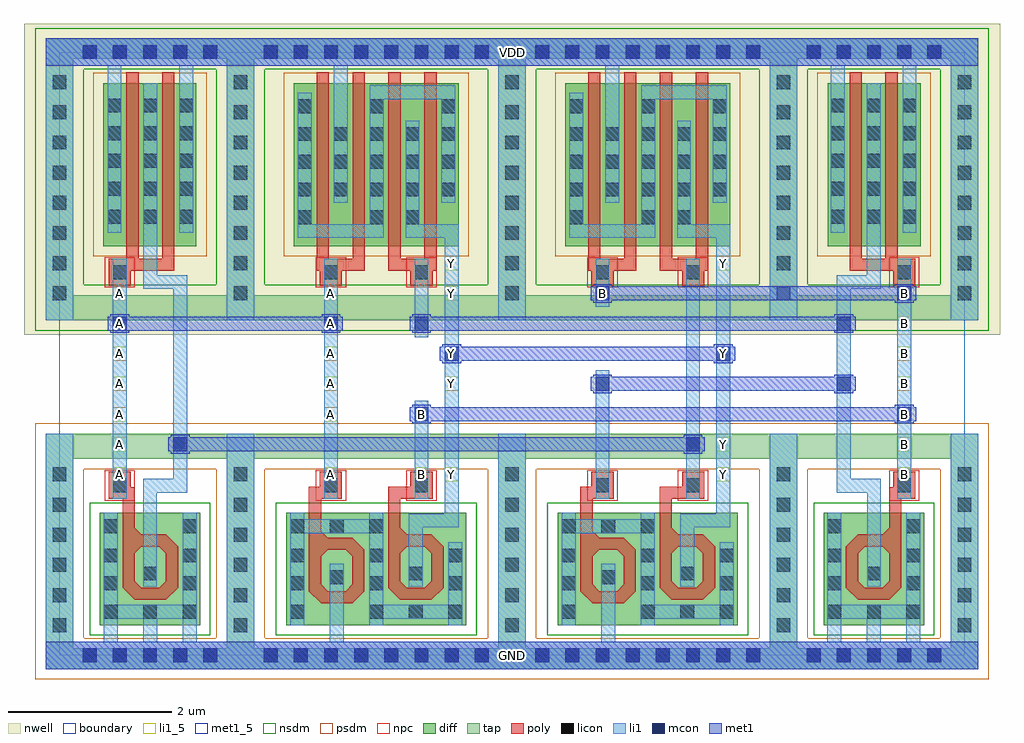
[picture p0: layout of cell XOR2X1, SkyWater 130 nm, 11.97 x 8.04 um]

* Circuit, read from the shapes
.subckt XOR2X1 A B GND VDD Y
XM1 GND A n1 GND sky130_fd_pr__nfet_01v8 w=2.56 l=0.1465
XM2 n2 A GND GND sky130_fd_pr__nfet_01v8 w=2.6 l=0.1477
XM3 n2 B Y GND sky130_fd_pr__nfet_01v8 w=2.56 l=0.1474
XM4 n3 n4 GND GND sky130_fd_pr__nfet_01v8 w=2.6 l=0.1487
XM5 n3 n1 Y GND sky130_fd_pr__nfet_01v8 w=2.56 l=0.1471
XM6 GND B n4 GND sky130_fd_pr__nfet_01v8 w=2.56 l=0.1462
XM7 n1 A VDD VDD sky130_fd_pr__pfet_01v8 w=2 l=0.15 m=2
XM8 VDD A n5 VDD sky130_fd_pr__pfet_01v8 w=2 l=0.15 m=2
XM9 Y n4 n5 VDD sky130_fd_pr__pfet_01v8 w=2 l=0.15 m=2
XM10 VDD B n6 VDD sky130_fd_pr__pfet_01v8 w=2 l=0.15 m=2
XM11 Y n1 n6 VDD sky130_fd_pr__pfet_01v8 w=2 l=0.15 m=2
XM12 n4 B VDD VDD sky130_fd_pr__pfet_01v8 w=2 l=0.15 m=2
.ends

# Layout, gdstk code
from math import pi, radians
import gdstk
lib = gdstk.Library(unit=1e-6, precision=1e-09)
def R(c, l, rs):  # rectangles x0, y0, x1, y1
    for r in rs: c.add(gdstk.rectangle(r[:2], r[2:], *l))
def A(c, l, x, y, w, h, nx, ny, dx, dy):  # array of equal rectangles
    R(c, l, [(x+i*dx, y+j*dy, x+i*dx+w, y+j*dy+h) for i in range(nx) for j in range(ny)])
def P(c, l, *ps):  # polygons
    for p in ps: c.add(gdstk.Polygon(p, *l))
nwell = (64, 20)
diff = (65, 20)
tap = (65, 44)
poly = (66, 20)
licon = (66, 44)
li1_5 = (67, 5)
li1 = (67, 20)
mcon = (67, 44)
met1_5 = (68, 5)
met1 = (68, 20)
nsdm = (93, 44)
psdm = (94, 20)
npc = (95, 20)
boundary = (235, 4)

diff_ring_side = lib.new_cell('diff_ring_side')
R(diff_ring_side, nwell, [(-0.435,3.93,0.435,7.75)])
R(diff_ring_side, tap, [(-0.17,-0.17,0.17,2.72), (-0.17,4.11,0.17,7.57)])
A(diff_ring_side, licon, -0.085, 0.285, 0.17, 0.17, 1, 6, 0, 0.37)
A(diff_ring_side, licon, -0.085, 4.355, 0.17, 0.17, 1, 8, 0, 0.37)
R(diff_ring_side, li1, [(-0.17,-0.17,0.17,2.72), (-0.17,4.11,0.17,7.57)])
R(diff_ring_side, met1, [(-0.17,-0.17,0.17,0.17), (-0.17,7.23,0.17,7.57)])
R(diff_ring_side, nsdm, [(-0.295,3.985,0.295,7.695)])
R(diff_ring_side, psdm, [(-0.295,-0.295,0.295,2.845)])

poly_li1_contact = lib.new_cell('poly_li1_contact')
R(poly_li1_contact, poly, [(-0.16,-0.14,0.17,0.13)])
R(poly_li1_contact, licon, [(-0.08,-0.09,0.09,0.08)])
R(poly_li1_contact, li1, [(-0.16,-0.09,0.17,0.08)])
R(poly_li1_contact, npc, [(-0.18,-0.19,0.19,0.18)])

pmos2 = lib.new_cell('pmos2')
R(pmos2, nwell, [(0.26,-2.18,1.76,0.18)])
R(pmos2, diff, [(0.44,-2,1.58,0)])
R(pmos2, poly, [(0.72,-2.305,1.31,-2.155), (0.72,-2.155,0.87,0.13), (1.16,-2.155,1.31,0.13)])
A(pmos2, licon, 0.49, -1.38, 0.17, 0.17, 3, 4, 0.44, 0.34)
R(pmos2, li1, [(0.49,-1.465,0.66,0.21), (0.93,-1.465,1.1,0), (1.37,-1.465,1.54,0.21)])
R(pmos2, psdm, [(0.315,-2.125,1.705,0.125)])

nmos_top = lib.new_cell('nmos_top')
R(nmos_top, diff, [(0,0,1.23,1.38)])
R(nmos_top, poly, [(0.42,0.31,0.8,0.46), (0.27,0.46,0.42,0.965), (0.8,0.46,0.95,0.965), (0.42,0.965,0.95,1.115), (0.8,1.115,0.95,1.54)])
P(nmos_top, poly, [(0.72,1.115),(0.8,1.115),(0.8,1.195)],
  [(0.27,0.965),(0.42,0.965),(0.42,1.115)],
  [(0.42,0.885),(0.42,0.965),(0.5,0.965)],
  [(0.72,0.965),(0.8,0.965),(0.8,0.885)],
  [(0.42,0.54),(0.42,0.46),(0.5,0.46)],
  [(0.72,0.46),(0.8,0.46),(0.8,0.54)],
  [(0.27,0.46),(0.42,0.46),(0.42,0.31)],
  [(0.8,0.31),(0.8,0.46),(0.95,0.46)])
R(nmos_top, licon, [(0.04,0.08,0.21,0.25), (0.53,0.08,0.7,0.25), (1.01,0.08,1.18,0.25), (0.04,0.43,0.21,0.6), (1.01,0.43,1.18,0.6), (0.53,0.55,0.7,0.72), (0.04,0.77,0.21,0.94), (1.01,0.77,1.18,0.94), (0.04,1.13,0.21,1.3), (1.01,1.13,1.18,1.3)])
R(nmos_top, li1, [(0.04,0,0.21,0.08), (1.01,0,1.18,0.08), (0.04,0.08,1.18,0.25), (0.04,0.25,0.21,1.38), (1.01,0.25,1.18,1.38), (0.53,0.47,0.7,0.805)])
R(nmos_top, nsdm, [(-0.125,-0.125,1.355,1.505)])

invx1_pcell = lib.new_cell('invx1_pcell')
R(invx1_pcell, nwell, [(-0.435,3.93,2.655,7.75)])
A(invx1_pcell, diff, 0.59, 5.295, 0.17, 0.17, 3, 1, 0.44, 0)
R(invx1_pcell, tap, [(0.17,-0.17,2.05,0.085), (0.17,2.41,2.05,2.72), (0.17,4.11,2.05,4.42), (0.17,7.315,2.05,7.57)])
R(invx1_pcell, poly, [(0.775,1.905,0.925,2.065)])
A(invx1_pcell, licon, 0.285, -0.085, 0.17, 0.17, 5, 2, 0.37, 7.4)
A(invx1_pcell, licon, 0.59, 5.295, 0.17, 0.17, 3, 1, 0.44, 0)
R(invx1_pcell, li1, [(0.17,-0.17,2.05,0.17), (0.545,0.17,0.715,0.45), (1.03,0.17,1.2,0.455), (1.515,0.17,1.685,0.45), (1.025,1.165,1.195,1.995), (1.025,1.995,1.565,2.165), (1.395,2.165,1.565,4.495), (0.655,2.245,0.825,4.54), (1.03,4.495,1.565,4.665), (1.03,4.665,1.2,5.555), (0.59,5.185,0.76,5.555), (1.47,5.185,1.64,5.555), (0.17,7.23,2.05,7.57)])
A(invx1_pcell, mcon, 0.285, -0.085, 0.17, 0.17, 5, 2, 0.37, 7.4)
R(invx1_pcell, met1, [(0.17,-0.17,2.05,0.17), (0.17,7.23,2.05,7.57)])
R(invx1_pcell, nsdm, [(0.045,3.985,2.175,4.545), (0.045,7.19,2.175,7.695)])
R(invx1_pcell, psdm, [(0.045,-0.295,2.175,0.21), (0.045,2.285,2.175,2.845), (0.465,5.17,1.765,5.59)])
invx1_pcell.add(gdstk.Reference(poly_li1_contact, (0.735,2.08), rotation=pi/2))
invx1_pcell.add(gdstk.Reference(poly_li1_contact, (0.745,4.705), rotation=3*pi/2))
invx1_pcell.add(gdstk.Reference(pmos2, (0.1,7.02)))
invx1_pcell.add(gdstk.Reference(nmos_top, (1.725,0.37), rotation=pi, x_reflection=True))
invx1_pcell.add(gdstk.Reference(diff_ring_side, (0,0)))
invx1_pcell.add(gdstk.Reference(diff_ring_side, (2.22,0)))

li1_m1_contact = lib.new_cell('li1_M1_contact')
R(li1_m1_contact, li1, [(-0.085,-0.165,0.085,0.165)])
R(li1_m1_contact, mcon, [(-0.085,-0.085,0.085,0.085)])
R(li1_m1_contact, met1, [(-0.115,-0.115,0.115,-0.085), (-0.265,-0.085,0.145,0.085), (-0.115,0.085,0.115,0.115)])

pmos2_1 = lib.new_cell('pmos2_1')
R(pmos2_1, nwell, [(0.26,-2.175,1.76,0.185)])
R(pmos2_1, diff, [(0.44,-1.995,1.58,0.005)])
R(pmos2_1, poly, [(0.72,-2.3,1.31,-2.15), (0.72,-2.15,0.87,0.135), (1.16,-2.15,1.31,0.135)])
A(pmos2_1, licon, 0.49, -1.385, 0.17, 0.17, 3, 3, 0.44, 0.34)
A(pmos2_1, li1, 0.49, -1.465, 0.17, 1.01, 3, 1, 0.44, 0)
R(pmos2_1, psdm, [(0.315,-2.12,1.705,0.13)])

nmos_top_trim1 = lib.new_cell('nmos_top_trim1')
R(nmos_top_trim1, diff, [(0,0,1.24,1.38)])
R(nmos_top_trim1, poly, [(0.43,0.31,0.81,0.46), (0.28,0.46,0.43,0.965), (0.81,0.46,0.96,0.965), (0.43,0.965,0.96,1.115), (0.81,1.115,0.96,1.545)])
P(nmos_top_trim1, poly, [(0.73,1.115),(0.81,1.115),(0.81,1.195)],
  [(0.28,0.965),(0.43,0.965),(0.43,1.115)],
  [(0.43,0.885),(0.43,0.965),(0.51,0.965)],
  [(0.73,0.965),(0.81,0.965),(0.81,0.885)],
  [(0.43,0.54),(0.43,0.46),(0.51,0.46)],
  [(0.73,0.46),(0.81,0.46),(0.81,0.54)],
  [(0.28,0.46),(0.43,0.46),(0.43,0.31)],
  [(0.81,0.31),(0.81,0.46),(0.96,0.46)])
A(nmos_top_trim1, licon, 0.05, 0.08, 0.17, 0.17, 3, 1, 0.485, 0)
R(nmos_top_trim1, licon, [(0.05,0.43,0.22,0.6), (1.02,0.43,1.19,0.6), (0.535,0.55,0.705,0.72), (0.05,0.77,0.22,0.94), (1.02,0.77,1.19,0.94), (1.02,1.13,1.19,1.3)])
R(nmos_top_trim1, li1, [(0.05,0,0.22,0.08), (1.02,0,1.19,0.08), (0.05,0.08,1.19,0.25), (0.05,0.25,0.22,1.02), (1.02,0.25,1.19,1.38), (0.535,0.47,0.705,0.805)])
R(nmos_top_trim1, nsdm, [(-0.125,-0.125,1.365,1.505)])

nmos_bottom = lib.new_cell('nmos_bottom')
R(nmos_bottom, diff, [(0,0,1.24,1.38)])
R(nmos_bottom, poly, [(0.43,0.27,0.81,0.42), (0.28,0.42,0.43,0.925), (0.81,0.42,0.96,0.925), (0.43,0.925,0.96,1.075), (0.81,1.075,0.96,1.51)])
P(nmos_bottom, poly, [(0.73,1.075),(0.81,1.075),(0.81,1.155)],
  [(0.28,0.925),(0.43,0.925),(0.43,1.075)],
  [(0.43,0.845),(0.43,0.925),(0.51,0.925)],
  [(0.73,0.925),(0.81,0.925),(0.81,0.845)],
  [(0.43,0.5),(0.43,0.42),(0.51,0.42)],
  [(0.73,0.42),(0.81,0.42),(0.81,0.5)],
  [(0.28,0.42),(0.43,0.42),(0.43,0.27)],
  [(0.81,0.27),(0.81,0.42),(0.96,0.42)])
A(nmos_bottom, licon, 0.05, 1.13, 0.17, 0.17, 3, 1, 0.485, 0)
R(nmos_bottom, licon, [(0.05,0.08,0.22,0.25), (1.02,0.08,1.19,0.25), (0.05,0.43,0.22,0.6), (1.02,0.43,1.19,0.6), (0.535,0.505,0.705,0.675), (0.05,0.77,0.22,0.94), (1.02,0.77,1.19,0.94)])
R(nmos_bottom, li1, [(0.05,0,0.22,1.13), (1.02,0,1.19,1.13), (0.535,0.425,0.705,0.755), (0.05,1.13,1.19,1.3), (0.05,1.3,0.22,1.38), (1.02,1.3,1.19,1.38)])
R(nmos_bottom, nsdm, [(-0.125,-0.125,1.365,1.505)])

xor2x1_pcell = lib.new_cell('xor2X1_pcell')
R(xor2x1_pcell, nwell, [(2.655,3.93,8.445,4.125), (2.64,4.125,5.13,4.84), (5.97,4.125,8.46,4.84), (2.64,4.84,2.695,7.195), (5.075,4.84,5.13,7.195), (5.97,4.84,6.025,7.2), (8.405,4.84,8.46,7.2), (2.925,6.65,3.095,6.82), (2.64,7.195,5.13,7.23), (5.97,7.2,8.46,7.23), (2.39,7.23,5.38,7.245), (5.72,7.23,8.71,7.245), (2.39,7.245,5.395,7.315), (5.705,7.245,8.71,7.315), (2.39,7.315,8.71,7.57), (2.64,7.57,5.13,7.66), (5.97,7.57,8.46,7.66), (2.655,7.66,8.445,7.75)])
A(xor2x1_pcell, diff, 2.925, 6.65, 0.17, 0.17, 3, 1, 0.88, 0)
A(xor2x1_pcell, diff, 6.255, 6.65, 0.17, 0.17, 3, 1, 0.88, 0)
R(xor2x1_pcell, diff, [(2.925,5.29,3.095,5.46), (3.805,5.29,3.975,5.46), (4.245,5.29,4.415,5.46), (6.255,5.29,6.425,5.46), (7.135,5.29,7.305,5.46), (7.575,5.29,7.745,5.46)])
R(xor2x1_pcell, tap, [(2.39,-0.17,5.38,-0.085), (5.72,-0.17,8.71,-0.085), (2.39,-0.085,5.395,0.085), (5.705,-0.085,8.71,0.085), (2.39,2.41,5.395,2.72), (5.705,2.41,8.71,2.72), (2.39,4.11,5.395,4.42), (5.705,4.11,8.71,4.42), (2.39,7.315,8.71,7.57)])
R(xor2x1_pcell, poly, [(3.06,1.88,3.21,1.92), (6.39,1.88,6.54,1.92), (4.03,1.915,4.18,1.92), (7.36,1.915,7.51,1.92), (3.06,1.92,3.195,2.07), (4.03,1.92,4.305,2.07), (6.39,1.92,6.525,2.07), (7.36,1.92,7.635,2.07)])
A(xor2x1_pcell, licon, 2.505, -0.085, 0.17, 0.17, 8, 2, 0.37, 7.4)
A(xor2x1_pcell, licon, 5.835, -0.085, 0.17, 0.17, 8, 2, 0.37, 7.4)
A(xor2x1_pcell, licon, 2.925, 6.65, 0.17, 0.17, 3, 1, 0.88, 0)
A(xor2x1_pcell, licon, 6.255, 6.65, 0.17, 0.17, 3, 1, 0.88, 0)
R(xor2x1_pcell, licon, [(2.925,5.29,3.095,5.46), (3.805,5.29,3.975,5.46), (4.245,5.29,4.415,5.46), (6.255,5.29,6.425,5.46), (7.135,5.29,7.305,5.46), (7.575,5.29,7.745,5.46)])
R(xor2x1_pcell, li1, [(2.39,-0.17,5.38,-0.14), (5.72,-0.17,8.71,-0.14), (2.39,-0.14,5.395,0.17), (5.705,-0.14,8.71,0.17), (3.315,0.17,3.485,0.875), (6.645,0.17,6.815,0.875), (4.285,1.085,4.455,1.57), (7.615,1.085,7.785,1.57), (4.285,1.57,4.895,1.74), (7.615,1.57,8.225,1.74), (4.725,1.74,4.895,5.12), (8.055,1.74,8.225,5.12), (6.575,2.225,6.745,3.17), (3.245,2.24,3.415,4.535), (7.685,2.245,7.855,4.535), (4.355,2.25,4.525,3.085), (4.355,4.125,4.525,4.535), (6.575,4.31,6.745,4.535), (2.925,5.12,3.975,5.29), (4.245,5.12,4.895,5.29), (6.255,5.12,7.305,5.29), (7.575,5.12,8.225,5.29), (2.925,5.29,3.095,5.55), (3.805,5.29,3.975,5.55), (4.245,5.29,4.415,5.55), (6.255,5.29,6.425,5.55), (7.135,5.29,7.305,5.55), (7.575,5.29,7.745,5.55), (2.925,6.56,3.095,6.9), (3.365,6.56,3.535,7.23), (3.805,6.56,3.975,6.82), (4.685,6.56,4.855,6.82), (6.255,6.56,6.425,6.9), (6.695,6.56,6.865,7.23), (7.135,6.56,7.305,6.82), (8.015,6.56,8.185,6.82), (3.805,6.82,4.855,6.99), (7.135,6.82,8.185,6.99), (2.39,7.23,5.38,7.245), (5.72,7.23,8.71,7.245), (2.39,7.245,5.395,7.315), (5.705,7.245,8.71,7.315), (2.39,7.315,8.71,7.57)])
A(xor2x1_pcell, mcon, 2.505, -0.085, 0.17, 0.17, 8, 2, 0.37, 7.4)
A(xor2x1_pcell, mcon, 5.835, -0.085, 0.17, 0.17, 8, 2, 0.37, 7.4)
R(xor2x1_pcell, met1, [(2.39,-0.17,5.38,-0.14), (5.72,-0.17,8.71,-0.14), (2.39,-0.14,5.395,0.17), (5.705,-0.14,8.71,0.17), (1.575,2.505,7.56,2.675), (4.525,2.875,10.23,3.045), (6.86,3.245,9.735,3.415), (4.905,3.615,7.93,3.785), (0.935,3.985,3.115,4.155), (4.695,3.985,9.735,4.155), (6.89,4.355,10.25,4.525), (2.39,7.23,5.38,7.245), (5.72,7.23,8.71,7.245), (2.39,7.245,5.395,7.315), (5.705,7.245,8.71,7.315), (2.39,7.315,8.71,7.57)])
R(xor2x1_pcell, nsdm, [(2.265,3.985,8.835,4.545), (2.265,7.19,8.835,7.695)])
A(xor2x1_pcell, psdm, 2.8, 6.525, 0.42, 0.42, 3, 1, 0.88, 0)
A(xor2x1_pcell, psdm, 6.13, 6.525, 0.42, 0.42, 3, 1, 0.88, 0)
R(xor2x1_pcell, psdm, [(2.265,-0.295,8.835,0.21), (2.265,2.285,8.835,2.845), (2.8,5.165,3.22,5.585), (3.68,5.165,4.54,5.585), (6.13,5.165,6.55,5.585), (7.01,5.165,7.87,5.585)])
xor2x1_pcell.add(gdstk.Reference(diff_ring_side, (2.22,0)))
xor2x1_pcell.add(gdstk.Reference(invx1_pcell, (0,0)))
xor2x1_pcell.add(gdstk.Reference(li1_m1_contact, (0.74,4.07), rotation=pi))
xor2x1_pcell.add(gdstk.Reference(li1_m1_contact, (1.48,2.59), rotation=pi))
xor2x1_pcell.add(gdstk.Reference(poly_li1_contact, (3.335,2.09), rotation=3*pi/2))
xor2x1_pcell.add(gdstk.Reference(poly_li1_contact, (3.335,4.705), rotation=3*pi/2))
xor2x1_pcell.add(gdstk.Reference(pmos2_1, (3.315,7.015)))
xor2x1_pcell.add(gdstk.Reference(pmos2_1, (2.435,7.015)))
xor2x1_pcell.add(gdstk.Reference(nmos_top_trim1, (4.99,0.37), rotation=pi, x_reflection=True))
xor2x1_pcell.add(gdstk.Reference(nmos_bottom, (4.02,0.37), rotation=pi, x_reflection=True))
xor2x1_pcell.add(gdstk.Reference(li1_m1_contact, (3.33,4.07)))
xor2x1_pcell.add(gdstk.Reference(poly_li1_contact, (4.445,4.705), rotation=3*pi/2))
xor2x1_pcell.add(gdstk.Reference(poly_li1_contact, (4.445,2.09), rotation=3*pi/2))
xor2x1_pcell.add(gdstk.Reference(li1_m1_contact, (4.44,2.96), rotation=pi))
xor2x1_pcell.add(gdstk.Reference(li1_m1_contact, (4.81,3.7), rotation=pi))
xor2x1_pcell.add(gdstk.Reference(li1_m1_contact, (4.44,4.07), rotation=pi))
xor2x1_pcell.add(gdstk.Reference(diff_ring_side, (5.55,0)))
xor2x1_pcell.add(gdstk.Reference(poly_li1_contact, (6.665,4.705), rotation=3*pi/2))
xor2x1_pcell.add(gdstk.Reference(poly_li1_contact, (6.665,2.09), rotation=3*pi/2))
xor2x1_pcell.add(gdstk.Reference(pmos2_1, (6.645,7.015)))
xor2x1_pcell.add(gdstk.Reference(pmos2_1, (5.765,7.015)))
xor2x1_pcell.add(gdstk.Reference(nmos_top_trim1, (8.32,0.37), rotation=pi, x_reflection=True))
xor2x1_pcell.add(gdstk.Reference(nmos_bottom, (7.35,0.37), rotation=pi, x_reflection=True))
xor2x1_pcell.add(gdstk.Reference(li1_m1_contact, (6.66,3.33), rotation=pi))
xor2x1_pcell.add(gdstk.Reference(li1_m1_contact, (6.66,4.44), rotation=pi))
xor2x1_pcell.add(gdstk.Reference(poly_li1_contact, (7.775,4.705), rotation=3*pi/2))
xor2x1_pcell.add(gdstk.Reference(poly_li1_contact, (7.775,2.09), rotation=3*pi/2))
xor2x1_pcell.add(gdstk.Reference(li1_m1_contact, (8.14,3.7)))
xor2x1_pcell.add(gdstk.Reference(li1_m1_contact, (7.77,2.59)))
xor2x1_pcell.add(gdstk.Reference(diff_ring_side, (8.88,0)))
xor2x1_pcell.add(gdstk.Reference(invx1_pcell, (11.1,0), rotation=pi, x_reflection=True))
xor2x1_pcell.add(gdstk.Reference(li1_m1_contact, (10.36,2.96)))
xor2x1_pcell.add(gdstk.Reference(li1_m1_contact, (9.62,4.07)))
xor2x1_pcell.add(gdstk.Reference(li1_m1_contact, (10.36,4.44)))
xor2x1_pcell.add(gdstk.Reference(li1_m1_contact, (9.62,3.33)))

xor2x1 = lib.new_cell('XOR2X1')
R(xor2x1, nwell, [(0.285,7.315,0.455,7.485)])
A(xor2x1, li1_5, 0.655, 2.135, 0.17, 0.17, 1, 7, 0, 0.37)
A(xor2x1, li1_5, 10.275, 2.135, 0.17, 0.17, 1, 7, 0, 0.37)
A(xor2x1, li1_5, 8.055, 2.505, 0.17, 0.17, 1, 3, 0, 1.11)
A(xor2x1, li1_5, 3.245, 2.875, 0.17, 0.17, 1, 5, 0, 0.37)
R(xor2x1, li1_5, [(3.245,2.135,3.415,2.305), (4.355,2.135,4.525,2.305), (4.725,2.135,4.895,2.305), (8.055,2.135,8.225,2.305), (4.355,2.875,4.525,3.045), (4.725,3.245,4.895,3.415), (4.725,3.615,4.895,3.785), (4.725,4.355,4.895,4.525), (6.575,4.355,6.745,4.525), (4.725,4.725,4.895,4.895)])
A(xor2x1, li1, 0.655, 2.135, 0.17, 0.17, 1, 7, 0, 0.37)
A(xor2x1, li1, 10.275, 2.135, 0.17, 0.17, 1, 7, 0, 0.37)
A(xor2x1, li1, 8.055, 2.505, 0.17, 0.17, 1, 3, 0, 1.11)
A(xor2x1, li1, 3.245, 2.875, 0.17, 0.17, 1, 5, 0, 0.37)
R(xor2x1, li1, [(3.245,2.135,3.415,2.305), (4.355,2.135,4.525,2.305), (4.725,2.135,4.895,2.305), (8.055,2.135,8.225,2.305), (4.355,2.875,4.525,3.045), (4.725,3.245,4.895,3.415), (4.725,3.615,4.895,3.785), (4.725,4.355,4.895,4.525), (6.575,4.355,6.745,4.525), (4.725,4.725,4.895,4.895)])
R(xor2x1, met1_5, [(-0.17,-0.17,11.27,0.17), (-0.17,7.23,11.27,7.57)])
R(xor2x1, met1, [(-0.17,-0.17,11.27,0.17), (-0.17,7.23,11.27,7.57)])
R(xor2x1, boundary, [(0,0,11.1,7.4)])
xor2x1.add(gdstk.Reference(xor2x1_pcell, (0,0)))
xor2x1.add(gdstk.Label('Y', (8.14,3.7), layer=67, texttype=5))
xor2x1.add(gdstk.Label('Y', (8.14,4.81), layer=67, texttype=5))
xor2x1.add(gdstk.Label('Y', (8.14,2.59), layer=67, texttype=5))
xor2x1.add(gdstk.Label('Y', (8.14,2.22), layer=67, texttype=5))
xor2x1.add(gdstk.Label('Y', (4.81,3.7), layer=67, texttype=5))
xor2x1.add(gdstk.Label('Y', (4.81,3.33), layer=67, texttype=5))
xor2x1.add(gdstk.Label('Y', (4.81,4.44), layer=67, texttype=5))
xor2x1.add(gdstk.Label('Y', (4.81,4.81), layer=67, texttype=5))
xor2x1.add(gdstk.Label('Y', (4.81,2.22), layer=67, texttype=5))
xor2x1.add(gdstk.Label('A', (0.74,4.07), layer=67, texttype=5))
xor2x1.add(gdstk.Label('A', (0.74,3.7), layer=67, texttype=5))
xor2x1.add(gdstk.Label('A', (0.74,3.33), layer=67, texttype=5))
xor2x1.add(gdstk.Label('A', (0.74,2.96), layer=67, texttype=5))
xor2x1.add(gdstk.Label('A', (0.74,2.59), layer=67, texttype=5))
xor2x1.add(gdstk.Label('A', (0.74,2.22), layer=67, texttype=5))
xor2x1.add(gdstk.Label('A', (0.74,4.44), layer=67, texttype=5))
xor2x1.add(gdstk.Label('A', (3.33,4.44), layer=67, texttype=5))
xor2x1.add(gdstk.Label('A', (3.33,4.07), layer=67, texttype=5))
xor2x1.add(gdstk.Label('A', (3.33,3.7), layer=67, texttype=5))
xor2x1.add(gdstk.Label('A', (3.33,3.33), layer=67, texttype=5))
xor2x1.add(gdstk.Label('A', (3.33,2.96), layer=67, texttype=5))
xor2x1.add(gdstk.Label('A', (3.33,2.22), layer=67, texttype=5))
xor2x1.add(gdstk.Label('B', (10.36,4.44), layer=67, texttype=5))
xor2x1.add(gdstk.Label('B', (10.36,4.07), layer=67, texttype=5))
xor2x1.add(gdstk.Label('B', (10.36,3.7), layer=67, texttype=5))
xor2x1.add(gdstk.Label('B', (10.36,3.33), layer=67, texttype=5))
xor2x1.add(gdstk.Label('B', (10.36,2.96), layer=67, texttype=5))
xor2x1.add(gdstk.Label('B', (10.36,2.59), layer=67, texttype=5))
xor2x1.add(gdstk.Label('B', (10.36,2.22), layer=67, texttype=5))
xor2x1.add(gdstk.Label('B', (6.66,4.44), layer=67, texttype=5))
xor2x1.add(gdstk.Label('B', (4.44,2.96), layer=67, texttype=5))
xor2x1.add(gdstk.Label('B', (4.44,2.22), layer=67, texttype=5))
xor2x1.add(gdstk.Label('VDD', (5.55,7.4), layer=68, texttype=5))
xor2x1.add(gdstk.Label('GND', (5.55,0), layer=68, texttype=5))

lib.write_gds('XOR2X1.gds')
